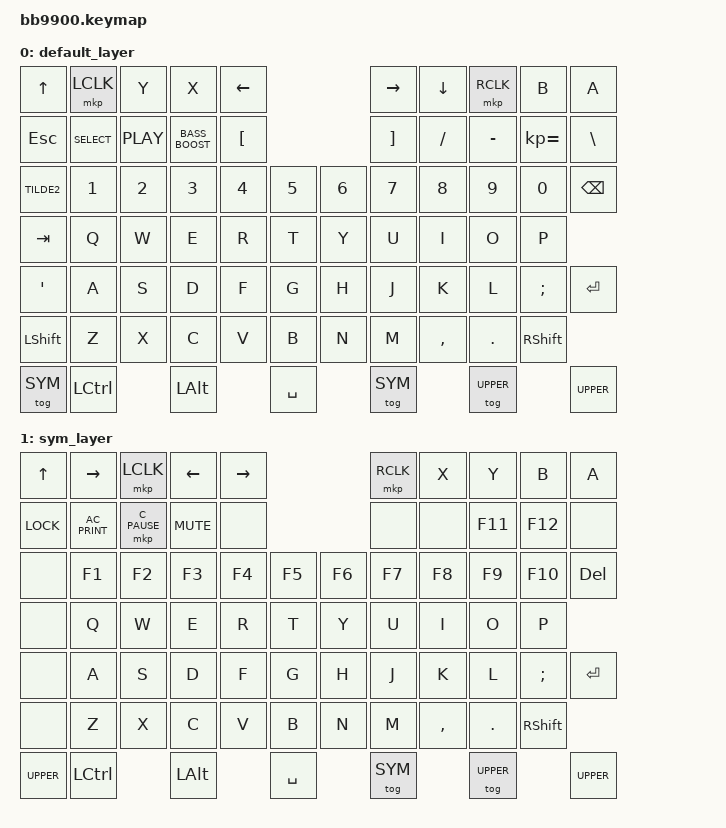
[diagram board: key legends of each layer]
/*
 * Copyright (c) 2023 ZitaoTech
 *
 * SPDX-License-Identifier: MIT
 */

#include <behaviors.dtsi>
#include <dt-bindings/zmk/keys.h>
#include <dt-bindings/zmk/bt.h>
#include <dt-bindings/zmk/outputs.h>
#include <dt-bindings/zmk/mouse.h>
#include <dt-bindings/zmk/backlight.h>
#include <dt-bindings/zmk/ext_power.h>


#define SYM 1
#define UPPER 2


/ {
    behaviors {
        td0: tap_dance_0 {
            compatible = "zmk,behavior-tap-dance";
            #binding-cells = <0>;
            tapping-term-ms = <400>;
            bindings = <&mkp LCLK>, <&bt BT_CLR>;
        };
    };
    behaviors {
        hm: homerow_mods {
            compatible = "zmk,behavior-hold-tap";
            #binding-cells = <2>;
            tapping-term-ms = <500>;
            bindings = <&out &kp>;
        };
    };

    behaviors {
        bhm: balanced_homerow_mods {
            compatible = "zmk,behavior-hold-tap";
            #binding-cells = <2>;
            flavor = "balanced";
            tapping-term-ms = <400>;
            bindings = <&kp>, <&kp>;
        };
    };

    keymap {
        compatible = "zmk,keymap";

        default_layer {

            bindings = <
//         --------------------------------------------------------------------------------------------------------------------------         
//         |    Shoulder Key1    |                                                                             |    Shoulder Key2    |     
// |         Call key      |      Blackberry Key        |    Trackpad    |             Back Key                |             Endcall Key          |
// |     Q      |     W    |     E    |     R    |      T      |       Y        |       U        |        I        |       O      |      P        |     
// |     A      |     S    |     D    |     F    |      G      |       H        |       J        |        K        |       L      |      ←        |  
// |     alt    |     Z    |     X    |     C    |      V      |       B        |       N        |        M        |       $      |    Enter      |   
//        |         aA     |         0           |           SPACE              |         SYM         |        aA          |       
//        -----------------------------------------------------------------------------------------------------------------

/*                 &mkp LCLK                                                                                             &mkp RCLK
    &kp CLCK                &kp LGUI                            &mkp LCLK                          &mt ESC K_BACK                    &kp TAB
    &bhm HASH Q  &bhm N1 W  &bhm N2 E  &bhm N3 R  &bhm LPAR T   &bhm RPAR Y        &bhm UNDER U    &bhm MINUS I        &bhm PLUS O   &bhm AT P
    &bhm STAR A  &bhm N4 S  &bhm N5 D  &bhm N6 F  &bhm SLASH G  &bhm COLON H       &bhm SEMI J     &bhm APOS K         &bhm DQT L    &kp BSPC
    &kp LSHFT    &bhm N7 Z  &bhm N8 X  &bhm N9 C  &bhm QMARK V  &bhm EXCL B        &bhm COMMA N    &bhm DOT M          &kp SEMI      &kp ENTER
    &kp LCTRL               &kp LALT                            &kp SPACE                          &tog SYM                          &tog UPPER
            >;
        };


        sym_layer {

            bindings = <        
                 &kp C_VOL_UP                                                                                       &mkp C_VOL_DN
    &kp PSCRN               &kp C_AC_SEARCH                     &mkp LCLK                          &kp F5                            &kp F12 
    &kp HASH     &kp N1     &kp N2      &kp N3    &mt LBKT LPAR &mt RBKT RPAR     &kp UNDER        &kp MINUS        &kp PLUS         &kp AT
    &kp STAR     &kp N4     &kp N5      &kp N6    &kp SLASH     &kp COLON         &kp SEMI         &kp APOS         &kp DQT          &kp DEL
    &kp LSHFT    &kp N7     &kp N8      &kp N9    &kp QMARK     &kp EXCL          &kp COMMA        &kp DOT          &kp C_MUTE       &kp ENTER
    &kp LCTRL               &kp N0                              &kp SPACE                          &tog SYM                          &tog UPPER
            >;
        };

        upper_layer {

            bindings = <
                 &msc SCRL_UP                                                                                       &msc SCRL_DOWN
    &bt BT_SEL 0            &bt BT_SEL 1                             &td0                           &bt BT_SEL 2                     &bt BT_SEL 3
    &none        &kp UP     &none       &sys_reset &ext_power EP_TOG &none         &kp LT           &kp GT          &kp PIPE         &kp KP_EQUAL
    &kp LEFT     &kp DOWN   &kp RIGHT   &none      &kp BSLH          &kp AMPS      &kp LBRC         &kp RBRC        &kp CARET        &kp BSPC
    &kp LSHFT    &none      &none       &none      &bl BL_DEC        &bl BL_TOG    &bl BL_INC       &none           &bootloader      &kp ENTER
    &kp LCTRL               &kp LALT                                 &hm OUT_TOG SPACE              &tog SYM                         &tog UPPER */
//---------------------------------------------------------------------------------------------------------
// |  ←  | ↑   | ↓   | →   |  Mleft  |  Mright |  Trackpad    |  Y  |  B  |  X  |  A  |                                       
// |  ESC   |  SELECT  | Start |                 voive  |   [  |  ]  |   /  |  -  |  =  |  \  |
// |   ~   |  1  |  2  |  3  |  4  |  5  |  6  |  7  |  8  |  9  |  0  |  Backspace  |
// |   TAB   |  Q  |  W  |  E  |  R  |  T  |  Y  |  U  |  I  |  O  |  P  | 
// |    '      |  A  |  S  |  D  |  F  |  G  |  H  |  J  |  K  |  L  |  ;  |     ENTER   |  
// |  LShift  |  Z  |  X  |  C  |  V  |  B  |  N  |  M  |  <  |  >  |  ;  |  RShift  |  
//        |  Fn  |  LCtrl  |  Alt   |      SPACE      |   Alt   |  RCtrl   |  Fn   |  
//        -----------------------------------------------------------------------------------------------------------------
&kp UP    &mkp LCLK   &kp  Y  &kp X  &kp  LEFT  &kp RIGHT  &kp DOWN                  &mkp RCLK       &kp  B         &kp A
&kp ESC    &kp K_SELECT  &kp C_PLAY &kp C_BASS_BOOST    &kp LBKT   &kp RBKT   &kp FSLH   &kp MINUS  &kp  KP_EQUAL &kp BACKSLASH                                                                                  
&kp TILDE2  &kp N1        &kp N2     &kp N3   &kp N4     &kp N5     &kp N6     &kp N7     &kp N8    &kp N9  &kp N0 &kp BSPC
&kp TAB     &kp Q         &kp W      &kp E    &kp R      &kp T      &kp Y      &kp U      &kp I     &kp O   &kp P
&kp SQT     &kp A         &kp S      &kp D    &kp F      &kp G      &kp H      &kp J      &kp K     &kp L   &kp SEMICOLON &kp ENTER        
&kp LSHFT   &kp Z         &kp X      &kp C    &kp V      &kp B      &kp N      &kp M      &kp COMMA &kp DOT &kp RSHFT
   &tog SYM   &kp LCTRL               &kp LALT              &kp SPACE           &tog SYM         &tog UPPER     &kp UPPER       
            >;
        };


        sym_layer {

            bindings = <
&kp  UP     &kp RIGHT      &mkp LCLK     &kp LEFT   &kp RIGHT  &mkp RCLK  &kp X      &kp Y      &kp B     &kp A
&kp K_LOCK  &kp C_AC_PRINT &mkp C_PAUSE  &kp K_MUTE &none   &none   &none   &kp F11    &kp F12   &none                                                                                   
&none    &kp F1         &kp F2        &kp F3     &kp F4     &kp F5     &kp F6     &kp F7     &kp F8    &kp F9  &kp F10 &kp DEL
&none    &kp Q          &kp W         &kp E      &kp R      &kp T      &kp Y      &kp U      &kp I     &kp O   &kp P
&none    &kp A          &kp S         &kp D      &kp F      &kp G      &kp H      &kp J      &kp K     &kp L   &kp SEMI &kp ENTER
&none    &kp Z          &kp X         &kp C      &kp V      &kp B      &kp N      &kp M      &kp COMMA &kp DOT &kp RSHFT
  &kp UPPER  &kp LCTRL               &kp LALT              &kp SPACE           &tog SYM         &tog UPPER     &kp UPPER     
            >;
        };
    };
};

